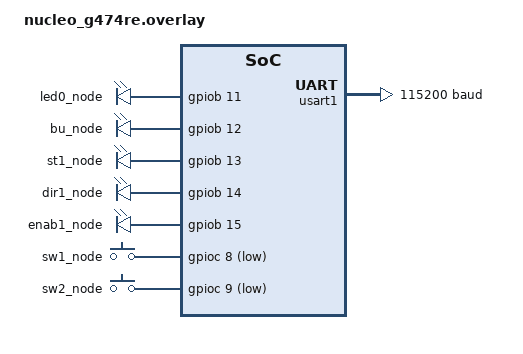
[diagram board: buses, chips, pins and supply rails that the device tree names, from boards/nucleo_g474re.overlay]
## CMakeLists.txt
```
cmake_minimum_required(VERSION 3.20.0)
find_package(Zephyr REQUIRED HINTS $ENV{ZEPHYR_BASE})
project(syringe_pump)

target_include_directories(app PRIVATE 
        include 
        include/Hal)

target_sources(app PRIVATE
    src/main.cpp
    src/pump_state_machine.cpp
    src/command_parser.cpp
    src/alarm_manager.cpp
    src/volume_tracker.cpp
    src/hal/gpio_zephyr.cpp           
    src/hal/stepper_driver_zephyr.cpp 
    src/hal/uart_zephyr.cpp           
    src/states/state_idle.cpp
    src/states/state_priming.cpp
    src/states/state_infusing.cpp
    src/states/state_paused.cpp
    src/states/state_occlusion_alarm.cpp
    src/states/state_complete.cpp
)
```

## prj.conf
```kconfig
CONFIG_CPP=y
CONFIG_STD_CPP20=y
CONFIG_REQUIRES_FULL_LIBCPP=y
CONFIG_CPP_RTTI=n
CONFIG_CPP_EXCEPTIONS=n
```

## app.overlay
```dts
/{
    aliases{
        led0 = &led0_node;
        sw1 = &sw1_node;
        sw2 = &sw2_node;
        bu = &bu_node;
        st1 = &st1_node;
        dir1 =  &dir1_node;
    };
    myoutputs{
        compatible = "gpio-leds";
        led0_node : led{
            gpios = <&gpioa 5 GPIO_ACTIVE_HIGH>;
        };
        bu_node : buz{
            gpios = <&gpiox x GPIO_ACTIVE_HIGH>;
        };
        st1_node : step{
            gpios = <&gpiox x GPIO_ACTIVE_HIGH>;
        };
        dir1_node : direction{
            gpios = <&gpiox x GPIO_ACTIVE_HIGH>;
        };
    };
    my_inputs{
        compatible = "gpio-keys";
        sw1_node : switch1{
            gpios = <&gpiox x (GPIO_ACTIVE_LOW | GPIO_PULL_UP)> ;
        };
        sw2_node : switch2{
            gpios = <&gpiox x (GPIO_ACTIVE_LOW | GPIO_PULL_UP)>;
        };
    };
};
    &uart2{
        status = "okay";    
    };
```

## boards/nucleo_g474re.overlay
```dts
#include <zephyr/dt-bindings/gpio/gpio.h>

/ {
	aliases {
		led0 = &led0_node;
		sw1 = &sw1_node;
		sw2 = &sw2_node;
		bu = &bu_node;
		st1 = &st1_node;
		dir1 = &dir1_node;
		enab1 = &enab1_node;
	};

	myoutputs {
		compatible = "gpio-leds";
		led0_node: led {
			gpios = <&gpiob 11 GPIO_ACTIVE_HIGH>;
		};
		bu_node: buz {
			gpios = <&gpiob 12 GPIO_ACTIVE_HIGH>;
		};
		st1_node: step {
			gpios = <&gpiob 13 GPIO_ACTIVE_HIGH>;
		};
		dir1_node: direction {
			gpios = <&gpiob 14 GPIO_ACTIVE_HIGH>;
		};
		enab1_node: enable {
			gpios = <&gpiob 15 GPIO_ACTIVE_HIGH>;
		};
	};

	my_inputs {
		compatible = "gpio-keys";
		sw1_node: switch1 {
			gpios = <&gpioc 8 (GPIO_ACTIVE_LOW | GPIO_PULL_UP)>;
		};
		sw2_node: switch2 {
			gpios = <&gpioc 9 (GPIO_ACTIVE_LOW | GPIO_PULL_UP)>;
		};
	};
};

&usart1 {
	status = "okay";
	current-speed = <115200>;
};
```

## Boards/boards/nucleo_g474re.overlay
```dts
#include <zephyr/dt-bindings/gpio/gpio.h>
/{
	aliases{
		led0 = &led0_node;
		sw1 = &sw1_node;
		sw2 = &sw2_node;
		bu = &bu_node;
		st1 = &st1_node;
		dir1 = &dir1_node;
        enab1 = &enab1_node;
	};
	myoutputs{
		compatible = "gpio-leds";
		led0_node: led{
			gpios = <&gpiob 11 GPIO_ACTIVE_HIGH>;
		};
		bu_node: buz{
			gpios = <&gpiob 12 GPIO_ACTIVE_HIGH>;
		};
		st1_node: step{    
			gpios = <&gpiob 13 GPIO_ACTIVE_HIGH>;
		};
		dir1_node: direction{
			gpios = <&gpiob 14 GPIO_ACTIVE_HIGH>;
		};
        enab1_node: enable{
			gpios = <&gpiob 15 GPIO_ACTIVE_HIGH>;
		};
	};
	my_inputs{
		compatible = "gpio-keys";
		sw1_node: switch1{
			gpios = <&gpioc 8 (GPIO_ACTIVE_LOW | GPIO_PULL_UP)>;
		};
		sw2_node: switch2{
			gpios = <&gpioc 9 (GPIO_ACTIVE_LOW | GPIO_PULL_UP)>;
		};
	};
};

&usart1 {
	status = "okay";
	current-speed = <115200>;
};
```

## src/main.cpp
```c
#include <cstdint>
#include <zephyr/kernel.h>
#include <zephyr/device.h>
#include "i_gpio.hpp"
#include "alarm_manager.hpp"
#include "command_parser.hpp"
#include "i_alarm_observer.hpp"
#include "i_uart.hpp"
#include "i_pump_state.hpp"
#include "pump_state_machine.hpp"
#include "volume_tracker.hpp"

AlarmManager alarm;
led led_obj;
buzzer buz;
PumpStateMachine pump(alarm);
commandparser parser(&pump);
uart_observer uart_obs(&parser);
Volumetracker vol_track;

static constexpr uint32_t kStackSize = 2048;
static constexpr uint32_t kDelayTime = 100;
static constexpr uint8_t kThreadPriority = 5;

K_THREAD_STACK_DEFINE(thread1, kStackSize);
struct k_thread my_thread;

void th_fn([[maybe_unused]] void *arg1, [[maybe_unused]] void *arg2, [[maybe_unused]] void *arg3) {
    while (true) {
        if (pump.motor.motor_running) {
            gpio_pin_set_dt(&step, 1);
            k_sleep(K_USEC(pump.motor.delay.load()));
            gpio_pin_set_dt(&step, 0);
            k_sleep(K_USEC(pump.motor.delay.load()));
            pump.motor.step_count_++;
            vol_track.update(pump.motor.step_count_);
        }
        k_yield();
    }
}

int main() {
    alarm.add(&led_obj);
    alarm.add(&buz);
    alarm.add(&uart_obs);
    pump.setrate(1.0F);
    hardware_init();

    k_thread_create(&my_thread, thread1, K_THREAD_STACK_SIZEOF(thread1), th_fn,
                    nullptr, nullptr, nullptr, kThreadPriority, 0, K_NO_WAIT);
    while (true) {
        k_sleep(K_MSEC(kDelayTime));
    }
    return 0;
}
```

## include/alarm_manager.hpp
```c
#pragma once
#include <cstdint>
#include <array>
#include "i_alarm_observer.hpp"

class AlarmManager {
public:
    static constexpr uint8_t size = 3U;
    std::array<AlarmObserver*, size> indication;
    uint16_t player_count = 0;
    uint16_t noti_count = 0;
    bool alarm_active_ = false; ///< Current alarm state.

    void add(AlarmObserver* observer);
    void notify();

    /// @brief Sets the alarm state and notifies observers.
    void set_active(bool active);
};
```

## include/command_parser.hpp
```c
#pragma once

class PumpStateMachine; // forward declaration only — don't also #include pump_state_machine.hpp here (circular include risk)

/// @brief Holds parsed user input (volume, time) from UART commands.
class get_data {
public:
    float get_vol_ml();
    float get_time_hr();
};

/// @brief Parses UART commands and dispatches to PumpStateMachine.
class commandparser {
    PumpStateMachine* Motor; ///< Pointer to the pump state machine.
    get_data geta;

public:
    /// @brief Constructor.
    /// @param p Pointer to PumpStateMachine.
    explicit commandparser(PumpStateMachine* p) : Motor(p) {}

    /// @brief Parses a command string and triggers pump action.
    /// @param word Null-terminated command string.
    void process_command(const char* word);

    /// @brief Alias used by tests.
    void parse(const char* word) { process_command(word); }
};
```

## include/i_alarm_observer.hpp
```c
#pragma once

/// @brief Abstract base class for alarm observers.
class AlarmObserver {
public:
    virtual ~AlarmObserver() = default;
    /// @brief Called when alarm state changes.
    /// @param active True if alarm is active, false if cleared.
    virtual void update(bool active) = 0;
};

/// @brief LED alarm observer.
class led : public AlarmObserver {
public:
    void update(bool active) override;
};

/// @brief Buzzer alarm observer.
class buzzer : public AlarmObserver {
public:
    void update(bool active) override;
};
```

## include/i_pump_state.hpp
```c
#pragma once

class PumpStateMachine;

/// @brief Abstract base class for pump states (State pattern).
class pumpState {
public:
    virtual ~pumpState() = default;
    PumpStateMachine* context; ///< Pointer to the state machine context.

    /// @brief Sets the state machine context.
    /// @param obj Pointer to PumpStateMachine.
    void setcontext(PumpStateMachine* obj) { context = obj; }

    virtual void onenter() = 0;    ///< Called on state entry.
    virtual void start() = 0;      ///< Handle start event.
    virtual void stop() = 0;       ///< Handle stop event.
    virtual void pause() = 0;      ///< Handle pause event.
    virtual void occlusion() = 0;  ///< Handle occlusion event.
    virtual void complete() = 0;   ///< Handle complete event.
};

/// @brief Idle state.
class idleState : public pumpState {
public:
    void onenter() override;
    void start() override;
    void stop() override;
    void pause() override;
    void occlusion() override;
    void complete() override;
};

/// @brief Priming state.
class primingState : public pumpState {
public:
    void onenter() override;
    void start() override;
    void stop() override;
    void pause() override;
    void occlusion() override;
    void complete() override;
};

/// @brief Infusing state.
class infusingState : public pumpState {
public:
    void onenter() override;
    void start() override;
    void stop() override;
    void pause() override;
    void occlusion() override;
    void complete() override;
};

/// @brief Pausing state.
class pausingState : public pumpState {
public:
    void onenter() override;
    void start() override;
    void stop() override;
    void pause() override;
    void occlusion() override;
    void complete() override;
};

/// @brief Occlusion alarm state.
class occlusionState : public pumpState {
public:
    void onenter() override;
    void start() override;
    void stop() override;
    void pause() override;
    void occlusion() override;
    void complete() override;
};

/// @brief Complete state.
class completeState : public pumpState {
public:
    void onenter() override;
    void start() override;
    void stop() override;
    void pause() override;
    void occlusion() override;
    void complete() override;
};
```

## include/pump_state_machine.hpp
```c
#pragma once
#include "alarm_manager.hpp"
#include "i_pump_state.hpp"
#include "i_stepper_driver.hpp"

/// @brief Manages pump states using the State pattern.
class PumpStateMachine {
public:
    pumpState* currentState; ///< Active state.
    MotorDriver motor;       ///< Motor driver instance.
    AlarmManager& alarmmanager; ///< Reference to alarm manager.

    idleState idlestate;
    primingState primingstate;
    pausingState pausingstate;
    completeState completestate;
    occlusionState occlusionstate;
    infusingState infusingstate;

    explicit PumpStateMachine(AlarmManager& alarm) : alarmmanager(alarm) {
        currentState = &idlestate;
        currentState->setcontext(this);
    }

    void setstate(pumpState* newState);
    void stop() const;
    void pause() const;
    void occlusion() const;
    void start() const;
    void complete() const;

    /// @brief Sets infusion rate.
    /// @param ml_per_hour Flow rate in mL/hr.
    void setrate(float ml_per_hour);
};
```

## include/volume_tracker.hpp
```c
#pragma once
#include <cstdint>

/// @brief Tracks infused volume based on motor steps.
class Volumetracker {
public:
    uint32_t step_count = 0;          ///< Current step count.
    uint16_t steps_per_rev = 51200;   ///< Steps per motor revolution.
    float vol_per_step = 2.0F;        ///< Volume per step in mL.

    /// @brief Updates step count.
    /// @param steps Current step value.
    void update(uint32_t steps);

    /// @brief Returns total infused volume in mL.
    /// @return Volume in mL.
    float getvol() const;

    /// @brief Resets step count to zero.
    void reset();
};
```

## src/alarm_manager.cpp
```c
#include "alarm_manager.hpp"

void AlarmManager::add(AlarmObserver* observer) {
    indication[player_count] = observer;
    player_count++;
}

void AlarmManager::notify() {
    for (uint16_t i = 0; i < player_count; i++) {
        indication[i]->update(alarm_active_);
    }
    noti_count++;
}

void AlarmManager::set_active(bool active) {
    alarm_active_ = active;
    notify();
}
```

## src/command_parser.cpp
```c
#include "command_parser.hpp"
#include "pump_state_machine.hpp"
#include <cstring>

void commandparser::process_command(const char* word) {
    if(strncmp(word, "start", 5) == 0) {
        Motor->start();
    }
    else if(strncmp(word, "stop", 4) == 0) {
        Motor->stop();
    }
    else if(strncmp(word, "pause", 5) == 0) {
        Motor->pause();
    }
    else if(strncmp(word, "setrate", 7) == 0) {
        float hr = geta.get_time_hr();
        if(hr > 0.0F) {
            Motor->setrate(geta.get_vol_ml() / hr);
        }
    }
}   
```

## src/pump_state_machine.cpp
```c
#include "pump_state_machine.hpp"
    void PumpStateMachine::setstate(pumpState* newState){
        currentState =  newState;
        currentState->setcontext(this);
        currentState->onenter();
    }
    void PumpStateMachine::stop()const{
        currentState->stop();
    }
    void PumpStateMachine::pause()const{
        currentState->pause();
    }
    void PumpStateMachine::occlusion()const{
        currentState->occlusion();
    }
    void PumpStateMachine::start()const{
        currentState->start();
    }
    void PumpStateMachine::complete()const{
        currentState->complete();
    }
    void PumpStateMachine::setrate(float ml_per_hour){
        motor.Setrate(ml_per_hour);
    }
```

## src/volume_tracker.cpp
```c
#include "volume_tracker.hpp"
    auto Volumetracker::update(uint32_t steps) -> void {
        step_count = steps;
    }           
    auto Volumetracker::getvol() const ->float{
        return static_cast<float>(step_count) * (vol_per_step / static_cast<float>(steps_per_rev));
    }
    void Volumetracker::reset(){
        step_count = 0;
    }
```
